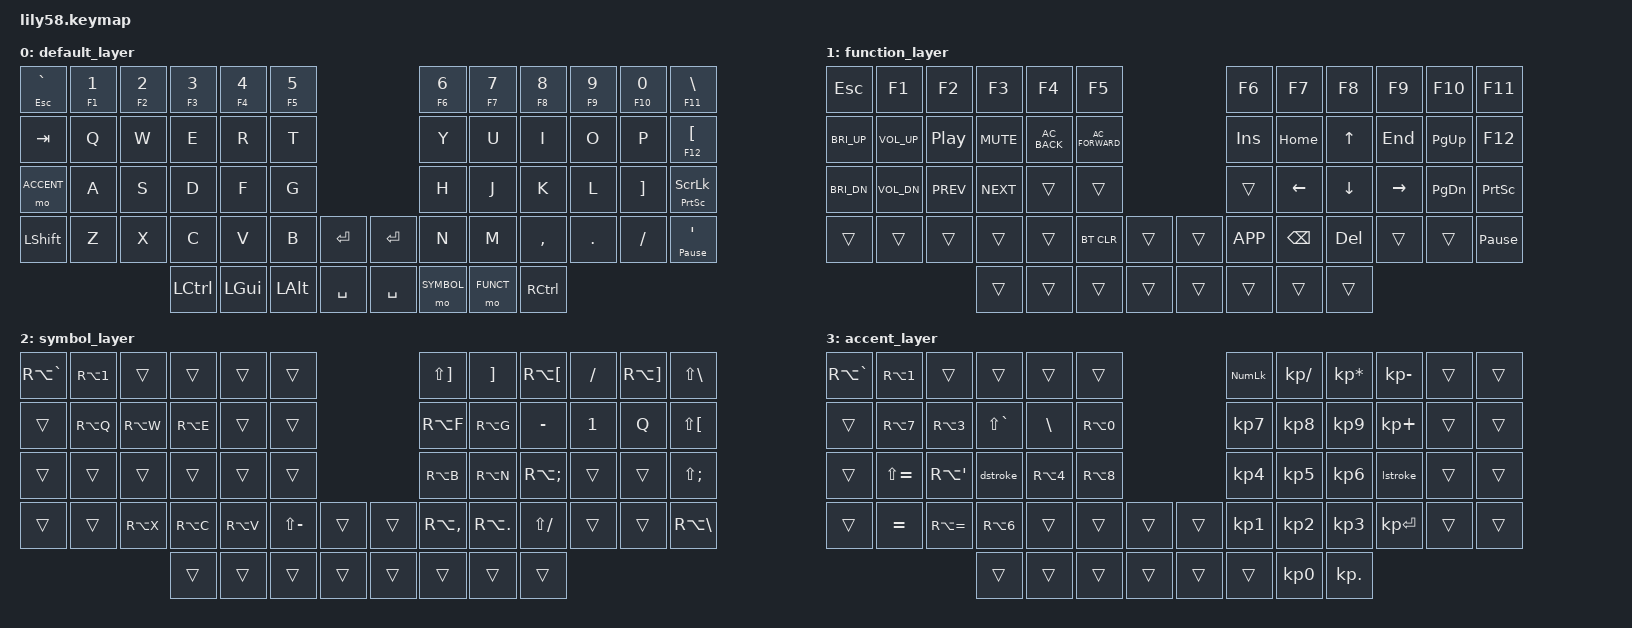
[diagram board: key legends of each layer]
/*
 * Copyright (c) 2020 The ZMK Contributors
 *
 * SPDX-License-Identifier: MIT
 */

#include <behaviors.dtsi>
#include <dt-bindings/zmk/keys.h>
#include <dt-bindings/zmk/bt.h>
#include <dt-bindings/zmk/ext_power.h>

#define DEFAULT 0
#define FUNCT   1
#define SYMBOL  2
#define ACCENT  3

/ {
    keymap {
        compatible = "zmk,keymap";

        default_layer {
// ------------------------------------------------------------------------------------------------------------
// |  ESC  |  1  |  2  |  3   |  4   |  5   |                   |  6   |  7    |  8    |  9   |   0   |   `   |
// |  TAB  |  Q  |  W  |  E   |  R   |  T   |                   |  Y   |  U    |  I    |  O   |   P   |   -   |
// |  CTRL |  A  |  S  |  D   |  F   |  G   |                   |  H   |  J    |  K    |  L   |   ;   |   '   |
// | SHIFT |  Z  |  X  |  C   |  V   |  B   |  ENTER |  | ENTER |  N   |  M    |  ,    |  .   |   /   | SHIFT |
//                     | ALT  | GUI  | LOWER|  SPACE |  | SPACE | RAISE| BSPC  | GUI   |
            bindings = <
&mt ESC GRAVE  &mt F1 N1  &mt F2 N2  &mt F3 N3  &mt F4 N4  &mt F5 N5                      &mt F6 N6  &mt F7 N7  &mt F8 N8  &mt F9 N9  &mt F10 N0  &mt F11 BSLH
&kp TAB        &kp Q      &kp W      &kp E      &kp R      &kp T                          &kp Y      &kp U      &kp I      &kp O      &kp P       &mt F12 LBKT
&mo ACCENT     &kp A      &kp S      &kp D      &kp F      &kp G                          &kp H      &kp J      &kp K      &kp L      &kp RBKT    &mt PSCRN SLCK
&kp LSHFT      &kp Z      &kp X      &kp C      &kp V      &kp B    &kp RET    &kp RET    &kp N      &kp M      &kp COMMA  &kp DOT    &kp FSLH    &mt PAUSE_BREAK SQT
                                     &kp LCTRL  &kp LGUI   &kp LALT &kp SPACE  &kp SPACE  &mo SYMBOL &mo FUNCT  &kp RCTRL
            >;
        };

        function_layer {
// ------------------------------------------------------------------------------------------------------------
// |       |     |     |      |      |      |                   |      |       |       |      |       |       |
// |   `   |  1  |  2  |  3   |  4   |  5   |                   |  6   |   7   |   8   |  9   |   0   |       |
// |   F1  |  F2 |  F3 |  F4  |  F5  |  F6  |                   |      |   <-  |   v   |  ^   |  ->   |       |
// |   F7  |  F8 |  F9 |  F10 |  F11 |  F12 |        |  |       |  +   |   -   |   =   |  [   |   ]   |   \   |
//                     |      |      |      |        |  |       |      |       |       |
          bindings = <
&kp ESC      &kp F1       &kp F2     &kp F3     &kp F4        &kp F5                    &kp F6    &kp F7   &kp F8   &kp F9    &kp F10   &kp F11
&kp C_BRI_UP &kp C_VOL_UP &kp C_PP   &kp C_MUTE &kp C_AC_BACK &kp C_AC_FORWARD          &kp INS   &kp HOME &kp UP   &kp END   &kp PG_UP &kp F12
&kp C_BRI_DN &kp C_VOL_DN &kp C_PREV &kp C_NEXT &trans        &trans                    &trans    &kp LEFT &kp DOWN &kp RIGHT &kp PG_DN &kp PSCRN
&trans       &trans       &trans     &trans     &trans        &bt BT_CLR &trans  &trans &kp K_APP &kp BSPC &kp DEL  &trans    &trans    &kp PAUSE_BREAK
                                     &trans     &trans        &trans     &trans  &trans &trans    &trans   &trans
            >;

        };

        symbol_layer {
// ------------------------------------------------------------------------------------------------------------
// | BTCLR | BT1 | BT2 |  BT3 |  BT4 |  BT5 |                   |      |       |       |      |       |       |
// |  F1   |  F2 |  F3 |  F4  |  F5  |  F6  |                   |  F7  |  F8   |  F9   |  F10 |  F11  |  F12  |
// |   `   |  !  |  @  |  #   |  $   |  %   |                   |  ^   |  &    |  *    |  (   |   )   |   ~   |
// |       |     |     |      |      |      |        |  |       |      |  _    |  +    |  {   |   }   |  "|"  |
//                     |      |      |      |        |  |       |      |       |       |
            bindings = <
&kp RA(GRAVE) &kp RA(N1) &trans    &trans    &trans    &trans                        &kp LS(RBKT)  &kp RBKT    &kp RA(LBKT) &kp FSLH  &kp RA(RBKT) &kp LS(BSLH)
&trans        &kp RA(Q)  &kp RA(W) &kp RA(E) &trans    &trans                        &kp RA(F)     &kp RA(G)   &kp MINUS    &kp N1    &kp Q        &kp LS(LBKT)
&trans        &trans     &trans    &trans    &trans    &trans                        &kp RA(B)     &kp RA(N)   &kp RA(SEMI) &trans    &trans       &kp LS(SEMI)
&trans        &trans     &kp RA(X) &kp RA(C) &kp RA(V) &kp LS(MINUS) &trans  &trans  &kp RA(COMMA) &kp RA(DOT) &kp LS(FSLH) &trans    &trans       &kp RA(BSLH)
                                   &trans    &trans    &trans        &trans  &trans  &trans        &trans      &trans
            >;
        };

        accent_layer {
// ------------------------------------------------------------------------------------------------------------
// |       |     |     |      |      |      |                   |      |       |       |      |       |       |
// |   `   |  1  |  2  |  3   |  4   |  5   |                   |  6   |   7   |   8   |  9   |   0   |       |
// |   F1  |  F2 |  F3 |  F4  |  F5  |  F6  |                   |      |   <-  |   v   |  ^   |  ->   |       |
// |   F7  |  F8 |  F9 |  F10 |  F11 |  F12 |        |  |       |  +   |   -   |   =   |  [   |   ]   |   \   |
//                     |      |      |      |        |  |       |      |       |       |
            bindings = <
&kp RA(GRAVE) &kp RA(N1)    &trans        &trans        &trans     &trans                  &kp KP_NLCK &kp KP_SLASH &kp KP_ASTERISK &kp KP_MINUS &trans    &trans
&trans        &kp RA(N7)    &kp RA(N3)    &kp LS(GRAVE) &kp BSLH   &kp RA(N0)              &kp KP_N7   &kp KP_N8    &kp KP_N9       &kp KP_PLUS  &trans    &trans
&trans        &kp LS(EQUAL) &kp RA(SQT)   &dstroke      &kp RA(N4) &kp RA(N8)              &kp KP_N4   &kp KP_N5    &kp KP_N6       &lstroke     &trans    &trans
&trans        &kp EQUAL     &kp RA(EQUAL) &kp RA(N6)    &trans     &trans  &trans  &trans  &kp KP_N1   &kp KP_N2    &kp KP_N3       &kp KP_ENTER &trans    &trans
                                          &trans        &trans     &trans  &trans  &trans  &trans      &kp KP_N0    &kp KP_DOT
            >;
        };
    };

    dstroke: d_stroke {
        compatible = "zmk,behavior-mod-morph";
        label = "DSTROKE";
        #binding-cells = <0>;
        bindings = <&kp RA(S)>, <&kp RA(D)>;
        mods = <(MOD_LSFT|MOD_RSFT)>;
      };

    lstroke: l_stroke {
        compatible = "zmk,behavior-mod-morph";
        label = "LSTROKE";
        #binding-cells = <0>;
        bindings = <&kp RA(K)>, <&kp RA(L)>;
        mods = <(MOD_LSFT|MOD_RSFT)>;
      };
};
